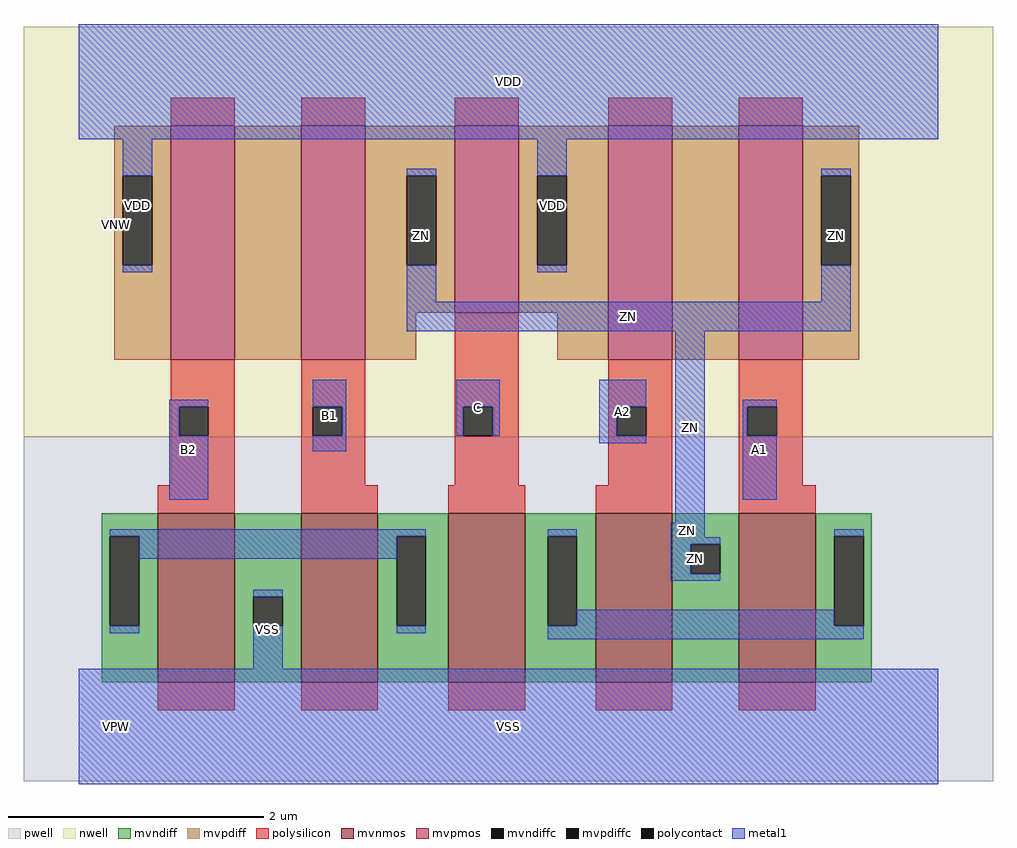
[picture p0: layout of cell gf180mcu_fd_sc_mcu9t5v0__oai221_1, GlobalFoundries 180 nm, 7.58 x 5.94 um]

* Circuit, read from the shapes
.subckt gf180mcu_fd_sc_mcu9t5v0__oai221_1 A1 A2 B1 B2 C ZN VDD VNW VPW VSS
XM1 VSS B2 n1 VPW nfet_06v0 w=1.32u l=0.6u
XM2 n1 B1 VSS VPW nfet_06v0 w=1.32u l=0.6u
XM3 n2 C n1 VPW nfet_06v0 w=1.32u l=0.6u
XM4 ZN A2 n2 VPW nfet_06v0 w=1.32u l=0.6u
XM5 n2 A1 ZN VPW nfet_06v0 w=1.32u l=0.6u
XM6 n3 B2 VDD VNW pfet_06v0 w=1.83u l=0.5u
XM7 ZN B1 n3 VNW pfet_06v0 w=1.83u l=0.5u
XM8 VDD C ZN VNW pfet_06v0 w=1.46u l=0.5u
XM9 n4 A2 VDD VNW pfet_06v0 w=1.83u l=0.5u
XM10 ZN A1 n4 VNW pfet_06v0 w=1.83u l=0.5u
.ends

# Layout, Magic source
magic
tech gf180mcuD
magscale 1 10
<< nwell >>
rect -86 453 1430 1094
<< pwell >>
rect -86 -86 1430 453
<< mvnmos >>
rect 124 69 244 333
rect 348 69 468 333
rect 578 69 698 333
rect 808 69 928 333
rect 1032 69 1152 333
<< mvpmos >>
rect 144 573 244 939
rect 348 573 448 939
rect 588 647 688 939
rect 828 573 928 939
rect 1032 573 1132 939
<< mvndiff >>
rect 36 297 124 333
rect 36 157 49 297
rect 95 157 124 297
rect 36 69 124 157
rect 244 203 348 333
rect 244 157 273 203
rect 319 157 348 203
rect 244 69 348 157
rect 468 297 578 333
rect 468 157 497 297
rect 543 157 578 297
rect 468 69 578 157
rect 698 297 808 333
rect 698 157 733 297
rect 779 157 808 297
rect 698 69 808 157
rect 928 285 1032 333
rect 928 239 957 285
rect 1003 239 1032 285
rect 928 69 1032 239
rect 1152 297 1240 333
rect 1152 157 1181 297
rect 1227 157 1240 297
rect 1152 69 1240 157
<< mvpdiff >>
rect 56 861 144 939
rect 56 721 69 861
rect 115 721 144 861
rect 56 573 144 721
rect 244 573 348 939
rect 448 861 588 939
rect 448 721 513 861
rect 559 721 588 861
rect 448 647 588 721
rect 688 861 828 939
rect 688 721 717 861
rect 763 721 828 861
rect 688 647 828 721
rect 448 573 528 647
rect 748 573 828 647
rect 928 573 1032 939
rect 1132 861 1220 939
rect 1132 721 1161 861
rect 1207 721 1220 861
rect 1132 573 1220 721
<< mvndiffc >>
rect 49 157 95 297
rect 273 157 319 203
rect 497 157 543 297
rect 733 157 779 297
rect 957 239 1003 285
rect 1181 157 1227 297
<< mvpdiffc >>
rect 69 721 115 861
rect 513 721 559 861
rect 717 721 763 861
rect 1161 721 1207 861
<< polysilicon >>
rect 144 939 244 983
rect 348 939 448 983
rect 588 939 688 983
rect 828 939 928 983
rect 1032 939 1132 983
rect 144 500 244 573
rect 144 454 157 500
rect 203 454 244 500
rect 144 377 244 454
rect 124 333 244 377
rect 348 500 448 573
rect 348 454 366 500
rect 412 454 448 500
rect 348 377 448 454
rect 588 500 688 647
rect 588 454 601 500
rect 647 454 688 500
rect 588 377 688 454
rect 828 500 928 573
rect 828 454 841 500
rect 887 454 928 500
rect 828 377 928 454
rect 348 333 468 377
rect 578 333 698 377
rect 808 333 928 377
rect 1032 500 1132 573
rect 1032 454 1045 500
rect 1091 454 1132 500
rect 1032 377 1132 454
rect 1032 333 1152 377
rect 124 25 244 69
rect 348 25 468 69
rect 578 25 698 69
rect 808 25 928 69
rect 1032 25 1152 69
<< polycontact >>
rect 157 454 203 500
rect 366 454 412 500
rect 601 454 647 500
rect 841 454 887 500
rect 1045 454 1091 500
<< metal1 >>
rect 0 918 1344 1098
rect 69 861 115 918
rect 69 710 115 721
rect 513 861 559 872
rect 513 664 559 721
rect 717 861 763 918
rect 717 710 763 721
rect 1161 861 1207 872
rect 1161 664 1207 721
rect 513 618 1207 664
rect 142 500 203 511
rect 142 454 157 500
rect 142 354 203 454
rect 366 500 418 542
rect 412 454 418 500
rect 590 500 658 542
rect 590 454 601 500
rect 647 454 658 500
rect 814 500 887 542
rect 814 454 841 500
rect 366 430 418 454
rect 814 443 887 454
rect 933 318 979 618
rect 1038 500 1091 511
rect 1038 454 1045 500
rect 1038 354 1091 454
rect 49 297 543 308
rect 95 262 497 297
rect 49 146 95 157
rect 273 203 319 214
rect 273 90 319 157
rect 497 146 543 157
rect 733 297 779 308
rect 926 296 979 318
rect 1181 297 1227 308
rect 926 285 1003 296
rect 926 239 957 285
rect 926 228 1003 239
rect 779 157 1181 182
rect 733 136 1227 157
rect 0 -90 1344 90
<< labels >>
flabel metal1 s 1038 354 1091 511 0 FreeSans 200 0 0 0 A1
port 1 nsew default input
flabel metal1 s 814 443 887 542 0 FreeSans 200 0 0 0 A2
port 2 nsew default input
flabel metal1 s 366 430 418 542 0 FreeSans 200 0 0 0 B1
port 3 nsew default input
flabel metal1 s 142 354 203 511 0 FreeSans 200 0 0 0 B2
port 4 nsew default input
flabel metal1 s 590 454 658 542 0 FreeSans 200 0 0 0 C
port 5 nsew default input
flabel metal1 s 0 918 1344 1098 0 FreeSans 200 0 0 0 VDD
port 7 nsew power bidirectional abutment
flabel metal1 s 273 90 319 214 0 FreeSans 200 0 0 0 VSS
port 10 nsew ground bidirectional abutment
flabel metal1 s 1161 664 1207 872 0 FreeSans 200 0 0 0 ZN
port 6 nsew default output
flabel nwell s 10 734 110 834 0 FreeSans 400 0 0 0 VNW
port 8 nsew power bidirectional
flabel pwell s 10 -50 110 50 0 FreeSans 400 0 0 0 VPW
port 9 nsew ground bidirectional
rlabel metal1 s 513 664 559 872 1 ZN
port 6 nsew default output
rlabel metal1 s 513 618 1207 664 1 ZN
port 6 nsew default output
rlabel metal1 s 933 318 979 618 1 ZN
port 6 nsew default output
rlabel metal1 s 926 296 979 318 1 ZN
port 6 nsew default output
rlabel metal1 s 926 228 1003 296 1 ZN
port 6 nsew default output
rlabel metal1 s 717 710 763 918 1 VDD
port 7 nsew power bidirectional abutment
rlabel metal1 s 69 710 115 918 1 VDD
port 7 nsew power bidirectional abutment
rlabel metal1 s 0 -90 1344 90 1 VSS
port 10 nsew ground bidirectional abutment
<< properties >>
string FIXED_BBOX 0 0 1344 1008
string GDS_END 225126
string GDS_FILE $PDKPATH/libs.ref/gf180mcu_fd_sc_mcu9t5v0/gds/gf180mcu_fd_sc_mcu9t5v0.gds
string GDS_START 220776
string LEFclass core
string LEFsite GF018hv5v_green_sc9
string LEFsymmetry X Y
<< end >>
